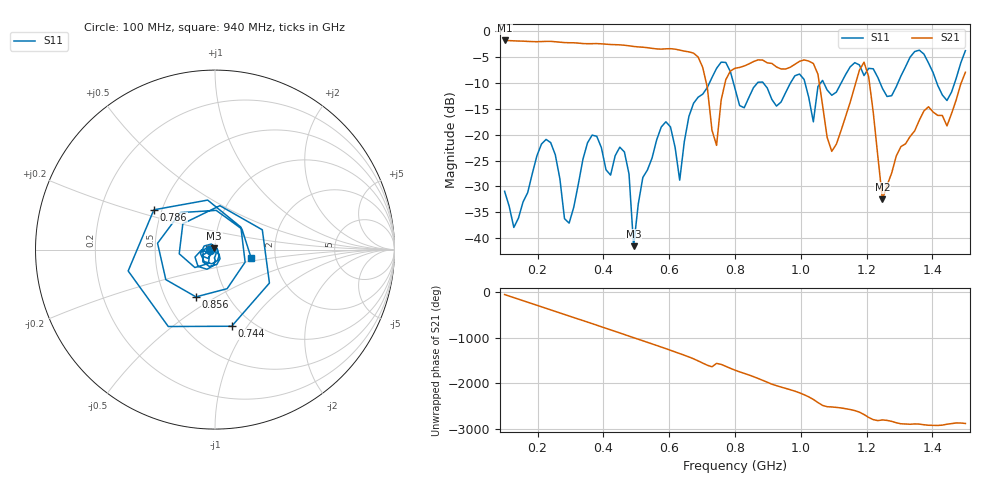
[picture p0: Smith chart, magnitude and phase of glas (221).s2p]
! NanoVNA-App
! Date: 2025-09-25 15:57:11
! Start: 100MHz Stop: 1,5GHz Points: 101
! S-Parameter data: F S11 S21 S12 S22
# Hz S RI R 50
!  Frequency  S11_Real  S11_Imag  S21_Real  S21_Imag  S12_Real  S12_Imag  S22_Real  S22_Imag
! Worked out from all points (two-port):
!   101 points, 100 MHz to 1.5 GHz, reference 50 ohm
!   highest |S21| = -1.80 dB at 100 MHz (marker M1); lowest = -32.5 dB at 1.248 GHz (marker M2)
!   |S21| within 3 dB of the highest: start of sweep to 684.1 MHz
!   lowest |S11| = -41.6 dB at 492 MHz (marker M3), VSWR 1.02, Z = 49.5 + j0.631 ohm
!   |S11| at or under -10 dB: start of sweep to 722.5 MHz; 795.3 MHz to 868.3 MHz (72.95 MHz wide, 8.77 % of centre); 885.9 MHz to 968.7 MHz (82.83 MHz wide, 8.93 % of centre) (the widest 3 of 7)
!   S12 and S22 are empty: the file has one direction only
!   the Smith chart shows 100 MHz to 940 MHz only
!   S11 on the Smith chart (normalised r, x): 100 MHz: 0.95, -0.01; 744 MHz: 0.81, -0.85; 786 MHz: 0.45, +0.24; 856 MHz: 0.71, -0.41; 940 MHz: 1.50, -0.14
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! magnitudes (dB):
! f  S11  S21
! 100 MHz  -30.9  -1.8
! 128 MHz  -37.9  -1.9
! 226 MHz  -20.9  -2.0
! 296 MHz  -37.1  -2.2
! 338 MHz  -24.7  -2.4
! 464 MHz  -23.4  -2.7
! 492 MHz  -41.6  -3.0
! 576 MHz  -18.5  -3.5
! 632 MHz  -28.8  -3.7
! 702 MHz  -12.2  -7.0
! 744 MHz  -7.2  -22.1
! 786 MHz  -7.8  -7.7
! 800 MHz  -11.1  -7.2
! 856 MHz  -10.9  -5.9
! 940 MHz  -13.7  -7.3
! 996 MHz  -8.3  -5.8
! 1.038 GHz  -17.5  -6.3
! 1.094 GHz  -12.4  -23.2
! 1.192 GHz  -8.6  -6.0
! 1.248 GHz  -11.1  -32.5
! 1.276 GHz  -12.5  -27.4
! 1.5 GHz  -3.8  -8.0
